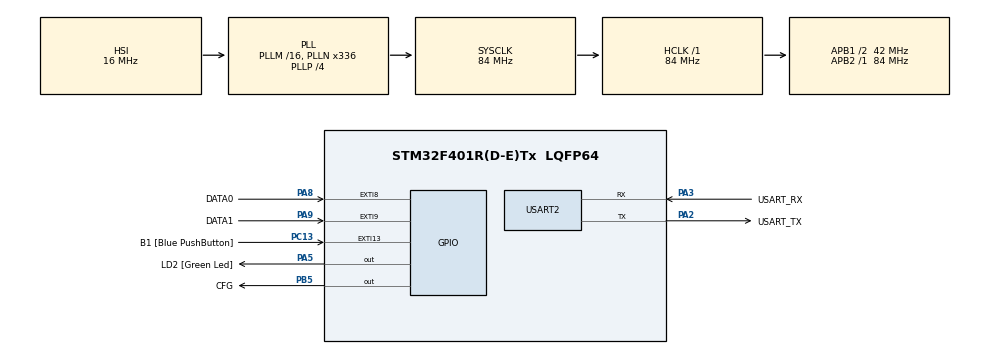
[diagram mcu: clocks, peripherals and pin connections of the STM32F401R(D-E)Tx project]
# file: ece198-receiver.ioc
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Mcu.Family=STM32F4
Mcu.Name=STM32F401R(D-E)Tx
Mcu.Package=LQFP64
NVIC.EXTI9_5_IRQn=true\:0\:0\:false\:false\:true\:true\:true\:true
NVIC.PriorityGroup=NVIC_PRIORITYGROUP_0
PA13.GPIO_Label=TMS
PA13.Mode=Serial_Wire
PA13.Signal=SYS_JTMS-SWDIO
PA14.GPIO_Label=TCK
PA14.Mode=Serial_Wire
PA14.Signal=SYS_JTCK-SWCLK
PA2.GPIO_Label=USART_TX
PA2.GPIO_Mode=GPIO_MODE_AF_PP
PA2.GPIO_PuPd=GPIO_NOPULL
PA2.GPIO_Speed=GPIO_SPEED_FREQ_LOW
PA2.Mode=Asynchronous
PA2.Signal=USART2_TX
PA3.GPIO_Label=USART_RX
PA3.GPIO_Mode=GPIO_MODE_AF_PP
PA3.GPIO_PuPd=GPIO_NOPULL
PA3.GPIO_Speed=GPIO_SPEED_FREQ_LOW
PA3.Mode=Asynchronous
PA3.Signal=USART2_RX
PA5.GPIO_Label=LD2 [Green Led]
PA5.GPIO_Mode=GPIO_MODE_OUTPUT_PP
PA5.GPIO_PuPd=GPIO_NOPULL
PA5.GPIO_Speed=GPIO_SPEED_FREQ_LOW
PA5.Signal=GPIO_Output
PA8.GPIO_Label=DATA0
PA8.GPIO_ModeDefaultEXTI=GPIO_MODE_IT_FALLING
PA8.GPIO_PuPd=GPIO_PULLUP
PA8.Signal=GPXTI8
PA9.GPIO_Label=DATA1
PA9.GPIO_ModeDefaultEXTI=GPIO_MODE_IT_FALLING
PA9.GPIO_PuPd=GPIO_PULLUP
PA9.Signal=GPXTI9
PB3.GPIO_Label=SWO
PB3.Signal=SYS_JTDO-SWO
PB5.GPIO_Label=CFG
PB5.GPIO_ModeDefaultOutputPP=GPIO_MODE_OUTPUT_OD
PB5.GPIO_PuPd=GPIO_NOPULL
PB5.PinState=GPIO_PIN_SET
PB5.Signal=GPIO_Output
PC13-ANTI_TAMP.GPIO_Label=B1 [Blue PushButton]
PC13-ANTI_TAMP.GPIO_ModeDefaultEXTI=GPIO_MODE_IT_FALLING
PC13-ANTI_TAMP.GPIO_PuPd=GPIO_NOPULL
PC13-ANTI_TAMP.Signal=GPXTI13
PC14-OSC32_IN.Mode=LSE-External-Oscillator
PC14-OSC32_IN.Signal=RCC_OSC32_IN
PC15-OSC32_OUT.Mode=LSE-External-Oscillator
PC15-OSC32_OUT.Signal=RCC_OSC32_OUT
PH0\ -\ OSC_IN.Mode=HSE-External-Clock-Source
PH0\ -\ OSC_IN.Signal=RCC_OSC_IN
PH1\ -\ OSC_OUT.Mode=HSE-External-Clock-Source
PH1\ -\ OSC_OUT.Signal=RCC_OSC_OUT
ProjectManager.HeapSize=0x200
ProjectManager.StackSize=0x400
ProjectManager.TargetToolchain=STM32CubeIDE
RCC.48MHZClocksFreq_Value=48000000
RCC.AHBFreq_Value=84000000
RCC.APB1CLKDivider=RCC_HCLK_DIV2
RCC.APB1Freq_Value=42000000
RCC.APB1TimFreq_Value=84000000
RCC.APB2Freq_Value=84000000
RCC.APB2TimFreq_Value=84000000
RCC.CortexFreq_Value=84000000
RCC.HCLKFreq_Value=84000000
RCC.HSE_VALUE=8000000
RCC.HSI_VALUE=16000000
RCC.PLLN=336
RCC.PLLP=RCC_PLLP_DIV4
RCC.PLLQ=7
RCC.SYSCLKFreq_VALUE=84000000
RCC.SYSCLKSource=RCC_SYSCLKSOURCE_PLLCLK
RCC.VCOOutputFreq_Value=336000000
USART2.VirtualMode=VM_ASYNC
board=NUCLEO-F401RE

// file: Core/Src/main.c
/* USER CODE BEGIN Header */
/**
 ******************************************************************************
 * @file           : main.c
 * @brief          : Main program body
 ******************************************************************************
 * @attention
 *
 * Copyright (c) 2024 STMicroelectronics.
 * All rights reserved.
 *
 * This software is licensed under terms that can be found in the LICENSE file
 * in the root directory of this software component.
 * If no LICENSE file comes with this software, it is provided AS-IS.
 *
 ******************************************************************************
 */
/* USER CODE END Header */
#include "main.h"

/* USER CODE BEGIN Includes */
#include "ring_buffer.h"
#include <stdio.h>
/* USER CODE END Includes */

UART_HandleTypeDef huart2;

/* USER CODE BEGIN PV */
RingBuffer ring_buffer;
volatile uint8_t next_byte = 0;
volatile uint8_t bit_counter = 0;
/* USER CODE END PV */

void SystemClock_Config(void);
static void MX_GPIO_Init(void);
static void MX_USART2_UART_Init(void);
/* USER CODE BEGIN PFP */
// void UART_Init(void) {
//     __HAL_RCC_USART2_CLK_ENABLE();
//     huart2.Instance = USART2;
//     huart2.Init.BaudRate = 9600;
//     huart2.Init.WordLength = UART_WORDLENGTH_8B;
//     huart2.Init.StopBits = UART_STOPBITS_1;
//     huart2.Init.Parity = UART_PARITY_NONE;
//     huart2.Init.Mode = UART_MODE_RX;
//     huart2.Init.HwFlowCtl = UART_HWCONTROL_NONE;
//     huart2.Init.OverSampling = UART_OVERSAMPLING_16;
//     HAL_UART_Init(&huart2);
//     // Enable UART receive interrupt
//     __HAL_UART_ENABLE_IT(&huart2, UART_IT_RXNE);
// }

/* USER CODE END PFP */

/* USER CODE BEGIN 0 */
void HAL_GPIO_EXTI_Callback(uint16_t GPIO_Pin) {
  uint8_t next_bit = 0;
  if (GPIO_Pin == DATA1_Pin) {
    next_bit = 0b10000000;
  } else if (GPIO_Pin == DATA0_Pin) {
    next_bit = 0b00000000;
  }

  printf("sent bit %d\r\n", next_bit);

  next_byte = next_bit | (next_byte >> 1);
  bit_counter++;

  if (bit_counter == 8) {
    ring_buffer_put(&ring_buffer, next_byte);
    next_byte = 0;
    bit_counter = 0;
  }
}
/* USER CODE END 0 */

int main(void) {

  /* USER CODE BEGIN 1 */
  // Initialize the ring buffer
  ring_buffer_init(&ring_buffer);
  /* USER CODE END 1 */

  /* MCU Configuration--------------------------------------------------------*/

  /* Reset of all peripherals, Initializes the Flash interface and the Systick. */
  HAL_Init();

  /* Configure the system clock */
  SystemClock_Config();

  /* Initialize all configured peripherals */
  MX_GPIO_Init();
  MX_USART2_UART_Init();
  /* USER CODE BEGIN 2 */
  // once peripherals are ready, pull down the CFG line
  HAL_GPIO_WritePin(CFG_GPIO_Port, CFG_Pin, 0);
  /* USER CODE END 2 */

  /* Infinite loop */
  /* USER CODE BEGIN WHILE */
  while (1) {
    TakeResult next = ring_buffer_take(&ring_buffer);
    if (next.is_valid) {
      printf("Received %c\r\n", next.value);
    }
    /* USER CODE END WHILE */

  }
}

void SystemClock_Config(void) {
  RCC_OscInitTypeDef RCC_OscInitStruct = { 0 };
  RCC_ClkInitTypeDef RCC_ClkInitStruct = { 0 };

  /** Configure the main internal regulator output voltage
   */
  __HAL_RCC_PWR_CLK_ENABLE();
  __HAL_PWR_VOLTAGESCALING_CONFIG(PWR_REGULATOR_VOLTAGE_SCALE2);

  /** Initializes the RCC Oscillators according to the specified parameters
   * in the RCC_OscInitTypeDef structure.
   */
  RCC_OscInitStruct.OscillatorType = RCC_OSCILLATORTYPE_HSI;
  RCC_OscInitStruct.HSIState = RCC_HSI_ON;
  RCC_OscInitStruct.HSICalibrationValue = RCC_HSICALIBRATION_DEFAULT;
  RCC_OscInitStruct.PLL.PLLState = RCC_PLL_ON;
  RCC_OscInitStruct.PLL.PLLSource = RCC_PLLSOURCE_HSI;
  RCC_OscInitStruct.PLL.PLLM = 16;
  RCC_OscInitStruct.PLL.PLLN = 336;
  RCC_OscInitStruct.PLL.PLLP = RCC_PLLP_DIV4;
  RCC_OscInitStruct.PLL.PLLQ = 7;
  if (HAL_RCC_OscConfig(&RCC_OscInitStruct) != HAL_OK) {
    Error_Handler();
  }

  /** Initializes the CPU, AHB and APB buses clocks
   */
  RCC_ClkInitStruct.ClockType = RCC_CLOCKTYPE_HCLK | RCC_CLOCKTYPE_SYSCLK
      | RCC_CLOCKTYPE_PCLK1 | RCC_CLOCKTYPE_PCLK2;
  RCC_ClkInitStruct.SYSCLKSource = RCC_SYSCLKSOURCE_PLLCLK;
  RCC_ClkInitStruct.AHBCLKDivider = RCC_SYSCLK_DIV1;
  RCC_ClkInitStruct.APB1CLKDivider = RCC_HCLK_DIV2;
  RCC_ClkInitStruct.APB2CLKDivider = RCC_HCLK_DIV1;

  if (HAL_RCC_ClockConfig(&RCC_ClkInitStruct, FLASH_LATENCY_2) != HAL_OK) {
    Error_Handler();
  }
}

static void MX_USART2_UART_Init(void) {

  huart2.Instance = USART2;
  huart2.Init.BaudRate = 115200;
  huart2.Init.WordLength = UART_WORDLENGTH_8B;
  huart2.Init.StopBits = UART_STOPBITS_1;
  huart2.Init.Parity = UART_PARITY_NONE;
  huart2.Init.Mode = UART_MODE_TX_RX;
  huart2.Init.HwFlowCtl = UART_HWCONTROL_NONE;
  huart2.Init.OverSampling = UART_OVERSAMPLING_16;
  if (HAL_UART_Init(&huart2) != HAL_OK) {
    Error_Handler();
  }

}

static void MX_GPIO_Init(void) {
  GPIO_InitTypeDef GPIO_InitStruct = { 0 };

  /* GPIO Ports Clock Enable */
  __HAL_RCC_GPIOC_CLK_ENABLE();
  __HAL_RCC_GPIOH_CLK_ENABLE();
  __HAL_RCC_GPIOA_CLK_ENABLE();
  __HAL_RCC_GPIOB_CLK_ENABLE();

  /*Configure GPIO pin Output Level */
  HAL_GPIO_WritePin(LD2_GPIO_Port, LD2_Pin, GPIO_PIN_RESET);

  /*Configure GPIO pin Output Level */
  HAL_GPIO_WritePin(CFG_GPIO_Port, CFG_Pin, GPIO_PIN_SET);

  /*Configure GPIO pin : B1_Pin */
  GPIO_InitStruct.Pin = B1_Pin;
  GPIO_InitStruct.Mode = GPIO_MODE_IT_FALLING;
  GPIO_InitStruct.Pull = GPIO_NOPULL;
  HAL_GPIO_Init(B1_GPIO_Port, &GPIO_InitStruct);

  /*Configure GPIO pin : LD2_Pin */
  GPIO_InitStruct.Pin = LD2_Pin;
  GPIO_InitStruct.Mode = GPIO_MODE_OUTPUT_PP;
  GPIO_InitStruct.Pull = GPIO_NOPULL;
  GPIO_InitStruct.Speed = GPIO_SPEED_FREQ_LOW;
  HAL_GPIO_Init(LD2_GPIO_Port, &GPIO_InitStruct);

  /*Configure GPIO pins : DATA0_Pin DATA1_Pin */
  GPIO_InitStruct.Pin = DATA0_Pin | DATA1_Pin;
  GPIO_InitStruct.Mode = GPIO_MODE_IT_FALLING;
  GPIO_InitStruct.Pull = GPIO_PULLUP;
  HAL_GPIO_Init(GPIOA, &GPIO_InitStruct);

  /*Configure GPIO pin : CFG_Pin */
  GPIO_InitStruct.Pin = CFG_Pin;
  GPIO_InitStruct.Mode = GPIO_MODE_OUTPUT_OD;
  GPIO_InitStruct.Pull = GPIO_NOPULL;
  GPIO_InitStruct.Speed = GPIO_SPEED_FREQ_LOW;
  HAL_GPIO_Init(CFG_GPIO_Port, &GPIO_InitStruct);

  /* EXTI interrupt init*/
  HAL_NVIC_SetPriority(EXTI9_5_IRQn, 0, 0);
  HAL_NVIC_EnableIRQ(EXTI9_5_IRQn);

}

void Error_Handler(void) {
  __disable_irq();
  while (1) {
  }
}
